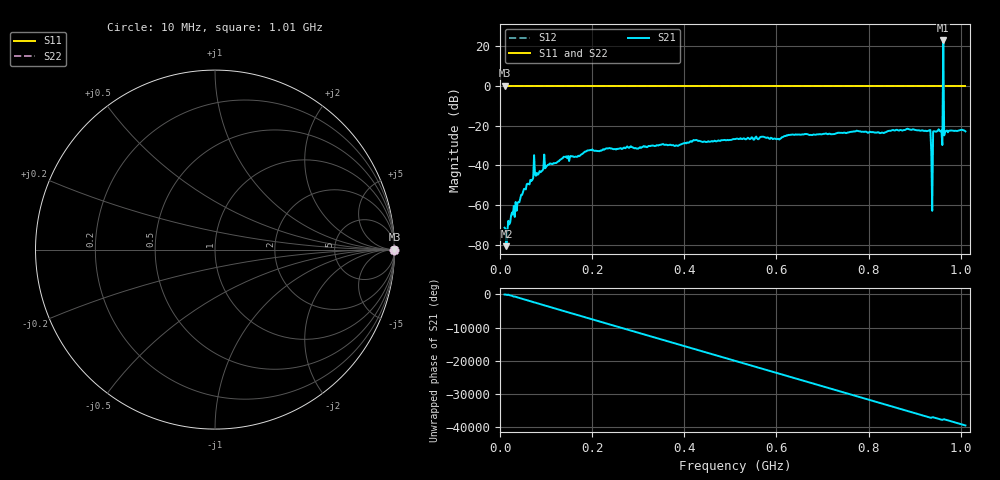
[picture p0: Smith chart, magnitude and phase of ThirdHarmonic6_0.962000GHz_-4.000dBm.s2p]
! 8/16/2025 7:08:40 AM
! C:\ANRITSUVNA\TEMP\TEMP.S2P
! CHANNEL.1
! TR.MEASUREMENT
! RAW.DATA
! RF.CORRECTION.OFF
! AVERAGING.OFF
! IF.BANDWIDTH: 5KHZ
! SWEEPTYPE:  FREQ.SWEEP(Linear)
! Reference Plane Port Info
! PORT:  PORT1  PORT2
! DISTANCE:  0  m  0  m
! TIME:  0  s  0  s
! PHASE.OFFSET:  0  deg.  0  deg.
! LOSS:  0  dB  0  dB
! REF.LOSS:  0  dB  0  dB
! REF.FREQ:  0  Hz  0  Hz
! Power Info
! POWER:  -20  dBm  -20  dBm
! EFF.POWER:  -20  dBm  -20  dBm
! SOURCE.ATTEN:  0  dB  0  dB
! TEST.ATTEN:  0  dB  0  dB
# GHZ S RI R 50.0
! FREQ.GHZ  S11RE  S11IM  S21RE  S21IM  S12RE  S12IM  S22RE  S22IM
!; PortSelection: Port_12
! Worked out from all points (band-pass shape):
!   501 points, 10 MHz to 1.01 GHz, reference 50 ohm
!   highest |S21| = 22.70 dB at 962 MHz (marker M1); lowest = -80.5 dB at 14 MHz (marker M2)
!   |S21| within 3 dB of the highest: 961.8857 MHz to 962.126 MHz (240.3 kHz wide, 0.025 % of centre)
!   lowest |S11| = 0.0 dB at 10 MHz (marker M3)
!   |S11| at or under -10 dB: nowhere
!   |S22| runs from 0.0 to 0.0 dB; largest |S21 - S12| = 14
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0.01  1 0  -5.49e-05 -0.000268  1 0  1 0
0.014  1 0  -8.92e-05 -2.98e-05  1 0  1 0
0.03  1 0  0.000882 -0.000379  1 0  1 0
0.076  1 0  0.00525 0.0026  1 0  1 0
0.08  1 0  -0.00603 -0.00234  1 0  1 0
0.178  1 0  -0.0188 -0.00408  1 0  1 0
0.344  1 0  0.0312 -0.00485  1 0  1 0
0.51  1 0  -0.0442 0.0116  1 0  1 0
0.678  1 0  -0.0174 -0.0551  1 0  1 0
0.844  1 0  0.0426 0.06  1 0  1 0
0.93  1 0  -0.0741 -0.00944  1 0  1 0
0.932  1 0  -0.02 0.0735  1 0  1 0
0.934  1 0  0.0698 0.0319  1 0  1 0
0.94  1 0  -0.0575 0.0421  1 0  1 0
0.942  1 0  0.0329 0.0641  1 0  1 0
0.944  1 0  0.0684 -0.0202  1 0  1 0
0.956  1 0  -0.0515 -0.0492  1 0  1 0
0.958  1 0  -0.0609 0.044  1 0  1 0
0.962  1 0  -10.08 -9.199  1 0  1 0
0.966  1 0  -0.0712 0.0018  1 0  1 0
0.968  1 0  -0.0126 0.0716  1 0  1 0
1.01  1 0  -0.0647 -0.0302  1 0  1 0
